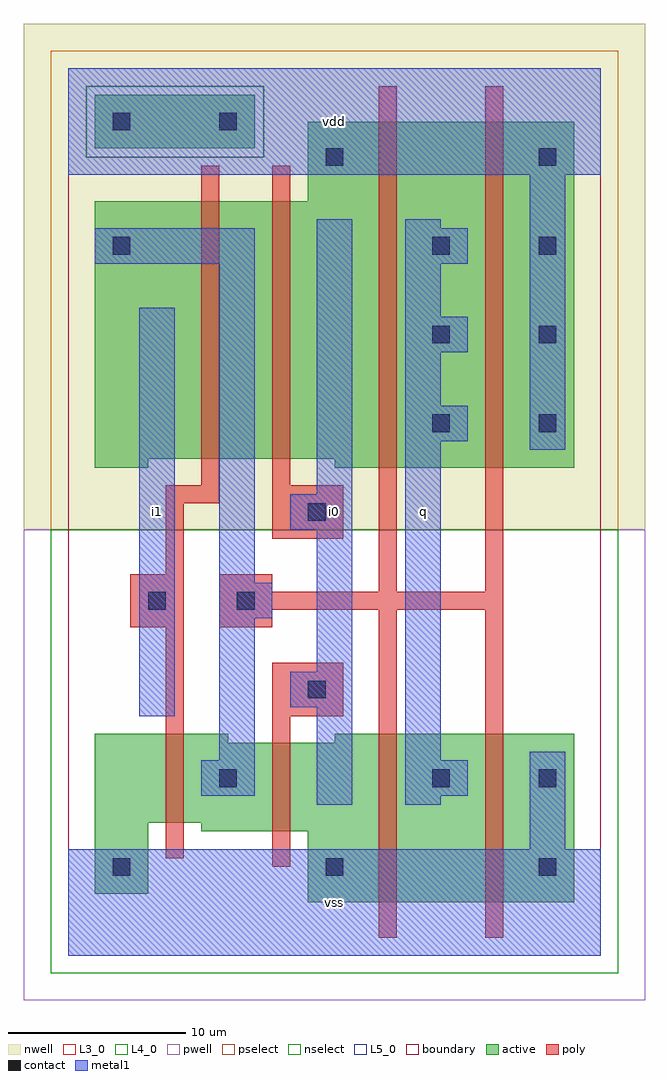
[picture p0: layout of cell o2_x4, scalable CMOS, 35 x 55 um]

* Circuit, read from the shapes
.subckt o2_x4 i0 i1 q vdd vss
M1 n1 i1 vss VSUBS nfet w=5u l=1u
M2 vss i0 n1 VSUBS nfet w=5u l=1u
M3 q n1 vss VSUBS nfet w=9.5u l=1u m=2
M4 n2 i1 n1 vdd pfet w=14.5u l=1u
M5 vdd i0 n2 vdd pfet w=14.5u l=1u
M6 q n1 vdd vdd pfet w=19.5u l=1u m=2
.ends

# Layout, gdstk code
import gdstk
lib = gdstk.Library(unit=1e-6, precision=1e-09)
def R(c, l, rs):  # rectangles x0, y0, x1, y1
    for r in rs: c.add(gdstk.rectangle(r[:2], r[2:], *l))
def A(c, l, x, y, w, h, nx, ny, dx, dy):  # array of equal rectangles
    R(c, l, [(x+i*dx, y+j*dy, x+i*dx+w, y+j*dy+h) for i in range(nx) for j in range(ny)])
L3_0 = (3, 0)
L4_0 = (4, 0)
L5_0 = (5, 0)
contact = (25, 0)
pwell = (41, 0)
nwell = (42, 0)
active = (43, 0)
pselect = (44, 0)
nselect = (45, 0)
poly = (46, 0)
metal1 = (49, 0)
boundary = (63, 0)

o2_x4 = lib.new_cell('o2_x4')
R(o2_x4, L3_0, [(13.5,3,28.5,7), (1.5,3.5,4.5,7.5), (7.5,7,28.5,7.5), (1.5,7.5,28.5,12), (1.5,12,9,12.5), (15,12,28.5,12.5)])
R(o2_x4, L4_0, [(1.5,27.5,4.5,28), (15,27.5,28.5,28), (1.5,28,28.5,42.5), (13.5,42.5,28.5,47)])
R(o2_x4, L5_0, [(1.5,45.5,10.5,48.5)])
A(o2_x4, contact, 2.5, 4.5, 1, 1, 3, 1, 12, 0)
A(o2_x4, contact, 20.5, 29.5, 1, 1, 1, 3, 0, 5)
A(o2_x4, contact, 26.5, 29.5, 1, 1, 1, 4, 0, 5)
R(o2_x4, contact, [(8.5,9.5,9.5,10.5), (20.5,9.5,21.5,10.5), (26.5,9.5,27.5,10.5), (13.5,14.5,14.5,15.5), (4.5,19.5,5.5,20.5), (9.5,19.5,10.5,20.5), (13.5,24.5,14.5,25.5), (2.5,39.5,3.5,40.5), (14.5,44.5,15.5,45.5), (2.5,46.5,3.5,47.5), (8.5,46.5,9.5,47.5)])
R(o2_x4, pwell, [(-2.5,-2.5,32.5,24)])
R(o2_x4, nwell, [(-2.5,24,32.5,52.5)])
R(o2_x4, active, [(13.5,3,28.5,7), (1.5,3.5,4.5,7.5), (7.5,7,28.5,7.5), (1.5,7.5,28.5,12), (1.5,12,9,12.5), (15,12,28.5,12.5), (1.5,27.5,4.5,28), (15,27.5,28.5,28), (1.5,28,28.5,42.5), (13.5,42.5,28.5,47), (1.5,45.5,10.5,48.5)])
R(o2_x4, pselect, [(-1,24,31,45), (-1,45,1,49), (11,45,31,49), (-1,49,31,51)])
R(o2_x4, nselect, [(-1,-1,31,24), (1,45,11,49)])
R(o2_x4, poly, [(17.5,1,18.5,19.5), (23.5,1,24.5,19.5), (11.5,5,12.5,13.5), (5.5,5.5,6.5,18.5), (11.5,13.5,15.5,16.5), (3.5,18.5,6.5,21.5), (8.5,18.5,11.5,19.5), (8.5,19.5,24.5,20.5), (8.5,20.5,11.5,21.5), (17.5,20.5,18.5,49), (23.5,20.5,24.5,49), (5.5,21.5,6.5,25.5), (11.5,23.5,15.5,26.5), (5.5,25.5,8.5,26.5), (7.5,26.5,8.5,44.5), (11.5,26.5,12.5,44.5)])
R(o2_x4, metal1, [(0,0,30,6), (0,0,30,6), (26,6,28,11.5), (26,6,28,11.5), (14,8.5,16,14), (14,8.5,16,14), (19,8.5,21,9), (19,8.5,21,9), (7.5,9,10.5,11), (7.5,9,10.5,11), (19,9,22.5,11), (19,9,22.5,11), (8.5,11,10.5,19), (8.5,11,10.5,19), (19,11,21,29), (19,11,21,29), (4,13.5,6,36.5), (4,13.5,6,36.5), (12.5,14,16,16), (12.5,14,16,16), (14,16,16,24), (14,16,16,24), (8.5,19,11.5,21), (8.5,19,11.5,21), (8.5,21,10.5,39), (8.5,21,10.5,39), (12.5,24,16,26), (12.5,24,16,26), (14,26,16,41.5), (14,26,16,41.5), (26,28.5,28,44), (26,28.5,28,44), (19,29,22.5,31), (19,29,22.5,31), (19,31,21,34), (19,31,21,34), (19,34,22.5,36), (19,34,22.5,36), (19,36,21,39), (19,36,21,39), (1.5,39,10.5,41), (1.5,39,10.5,41), (19,39,22.5,41), (19,39,22.5,41), (19,41,21,41.5), (19,41,21,41.5), (0,44,30,50), (0,44,30,50)])
R(o2_x4, boundary, [(0,0,30,50)])
o2_x4.add(gdstk.Label('i1', (5,25), layer=49, texttype=0))
o2_x4.add(gdstk.Label('vss', (15,3), layer=49, texttype=0))
o2_x4.add(gdstk.Label('q', (20,25), layer=49, texttype=0))
o2_x4.add(gdstk.Label('i0', (15,25), layer=49, texttype=0))
o2_x4.add(gdstk.Label('vdd', (15,47), layer=49, texttype=0))

lib.write_gds('o2_x4.gds')
